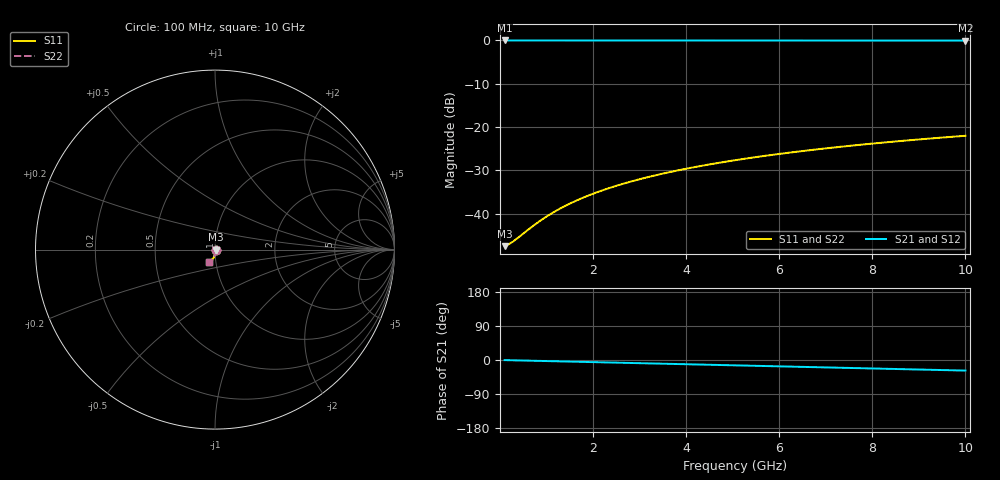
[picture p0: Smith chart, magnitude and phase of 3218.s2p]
# Hz S RI R 50.00
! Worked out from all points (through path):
!   100 points, 100 MHz to 10 GHz, reference 50 ohm
!   highest |S21| = -0.04 dB at 100 MHz (marker M1); lowest = -0.1 dB at 10 GHz (marker M2)
!   group delay of S21, straight-line fit = 7.76 ps
!   lowest |S11| = -47.5 dB at 100 MHz (marker M3), VSWR 1.01, Z = 50.4 - j0.0848 ohm
!   |S11| at or under -10 dB: start of sweep to end of sweep
!   |S22| runs from -47.5 to -22.0 dB; largest |S21 - S12| = 0
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1e8  0.00412 -0.000841  0.9959 -0.00486  0.9959 -0.00486  0.00412 -0.000841
2e8  0.00414 -0.00168  0.9958 -0.00971  0.9958 -0.00971  0.00414 -0.00168
3e8  0.00413 -0.00252  0.9957 -0.0146  0.9957 -0.0146  0.00413 -0.00252
8e8  0.00396 -0.00673  0.995 -0.0388  0.995 -0.0388  0.00396 -0.00673
9e8  0.0039 -0.00757  0.9947 -0.0437  0.9947 -0.0437  0.0039 -0.00757
1.1e9  0.00375 -0.00924  0.9942 -0.0534  0.9942 -0.0534  0.00375 -0.00924
1.4e9  0.00346 -0.0118  0.9933 -0.0679  0.9933 -0.0679  0.00346 -0.0118
1.6e9  0.00323 -0.0134  0.9925 -0.0776  0.9925 -0.0776  0.00323 -0.0134
1.8e9  0.00296 -0.0151  0.9917 -0.0873  0.9917 -0.0873  0.00296 -0.0151
2.1e9  0.0025 -0.0176  0.9902 -0.1018  0.9902 -0.1018  0.0025 -0.0176
2.5e9  0.00177 -0.0209  0.988 -0.121  0.988 -0.121  0.00177 -0.0209
2.9e9  0.00091 -0.0241  0.9853 -0.1403  0.9853 -0.1403  0.00091 -0.0241
3.4e9  -0.000339 -0.0281  0.9814 -0.1642  0.9814 -0.1642  -0.000339 -0.0281
3.8e9  -0.00148 -0.0313  0.9779 -0.1833  0.9779 -0.1833  -0.00148 -0.0313
4.2e9  -0.00274 -0.0344  0.974 -0.2023  0.974 -0.2023  -0.00274 -0.0344
4.6e9  -0.00412 -0.0375  0.9698 -0.2212  0.9698 -0.2212  -0.00412 -0.0375
5.1e9  -0.00601 -0.0413  0.9639 -0.2447  0.9639 -0.2447  -0.00601 -0.0413
5.9e9  -0.00941 -0.0471  0.9533 -0.282  0.9533 -0.282  -0.00941 -0.0471
6.7e9  -0.0132 -0.0526  0.9412 -0.3188  0.9412 -0.3188  -0.0132 -0.0526
7.5e9  -0.0175 -0.0578  0.9277 -0.3551  0.9277 -0.3551  -0.0175 -0.0578
8.4e9  -0.0227 -0.0633  0.9107 -0.3952  0.9107 -0.3952  -0.0227 -0.0633
1e10  -0.0331 -0.0718  0.8763 -0.4643  0.8763 -0.4643  -0.0331 -0.0718
